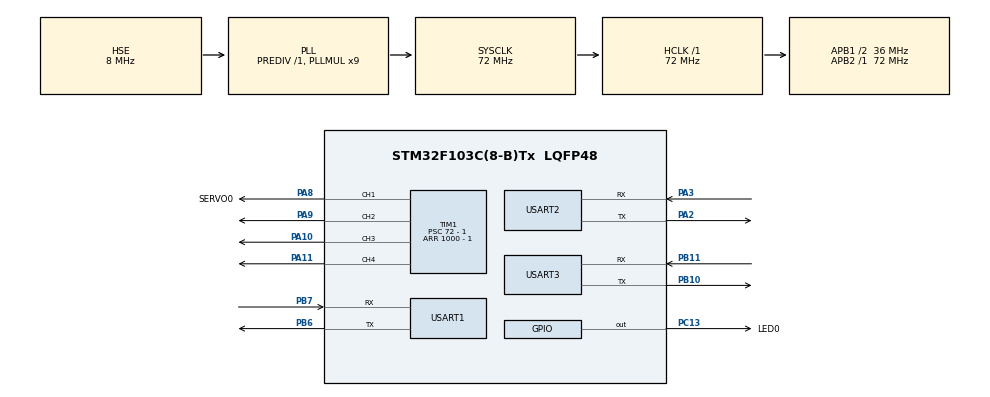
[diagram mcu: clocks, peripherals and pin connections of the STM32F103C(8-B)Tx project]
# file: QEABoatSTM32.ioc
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Mcu.Family=STM32F1
Mcu.Name=STM32F103C(8-B)Tx
Mcu.Package=LQFP48
NVIC.PriorityGroup=NVIC_PRIORITYGROUP_4
NVIC.USART1_IRQn=true\:0\:0\:false\:false\:true\:true\:true
NVIC.USART2_IRQn=true\:0\:0\:false\:false\:true\:true\:true
NVIC.USART3_IRQn=true\:0\:0\:false\:false\:true\:true\:true
PA10.Signal=S_TIM1_CH3
PA11.Signal=S_TIM1_CH4
PA13.Mode=Serial_Wire
PA13.Signal=SYS_JTMS-SWDIO
PA14.Mode=Serial_Wire
PA14.Signal=SYS_JTCK-SWCLK
PA2.Mode=Asynchronous
PA2.Signal=USART2_TX
PA3.Mode=Asynchronous
PA3.Signal=USART2_RX
PA8.GPIO_Label=SERVO0
PA8.GPIO_Speed=GPIO_SPEED_FREQ_HIGH
PA8.Signal=S_TIM1_CH1
PA9.Signal=S_TIM1_CH2
PB10.Mode=Asynchronous
PB10.Signal=USART3_TX
PB11.Mode=Asynchronous
PB11.Signal=USART3_RX
PB6.Mode=Asynchronous
PB6.Signal=USART1_TX
PB7.Mode=Asynchronous
PB7.Signal=USART1_RX
PC13-TAMPER-RTC.GPIO_Label=LED0
PC13-TAMPER-RTC.GPIO_Speed=GPIO_SPEED_FREQ_HIGH
PC13-TAMPER-RTC.Signal=GPIO_Output
PD0-OSC_IN.Mode=HSE-External-Oscillator
PD0-OSC_IN.Signal=RCC_OSC_IN
PD1-OSC_OUT.Mode=HSE-External-Oscillator
PD1-OSC_OUT.Signal=RCC_OSC_OUT
ProjectManager.HeapSize=0x200
ProjectManager.StackSize=0x400
ProjectManager.TargetToolchain=STM32CubeIDE
RCC.AHBFreq_Value=72000000
RCC.APB1CLKDivider=RCC_HCLK_DIV2
RCC.APB1Freq_Value=36000000
RCC.APB1TimFreq_Value=72000000
RCC.APB2Freq_Value=72000000
RCC.APB2TimFreq_Value=72000000
RCC.HCLKFreq_Value=72000000
RCC.PLLMUL=RCC_PLL_MUL9
RCC.PLLSourceVirtual=RCC_PLLSOURCE_HSE
RCC.SYSCLKFreq_VALUE=72000000
RCC.SYSCLKSource=RCC_SYSCLKSOURCE_PLLCLK
RCC.USBFreq_Value=72000000
SH.S_TIM1_CH1.0=TIM1_CH1,PWM Generation1 CH1
SH.S_TIM1_CH2.0=TIM1_CH2,PWM Generation2 CH2
SH.S_TIM1_CH3.0=TIM1_CH3,PWM Generation3 CH3
SH.S_TIM1_CH4.0=TIM1_CH4,PWM Generation4 CH4
TIM1.Channel-PWM\ Generation1\ CH1=TIM_CHANNEL_1
TIM1.Channel-PWM\ Generation2\ CH2=TIM_CHANNEL_2
TIM1.Channel-PWM\ Generation3\ CH3=TIM_CHANNEL_3
TIM1.Channel-PWM\ Generation4\ CH4=TIM_CHANNEL_4
TIM1.Period=1000 - 1
TIM1.Prescaler=72 - 1
USART1.VirtualMode=VM_ASYNC
USART2.VirtualMode=VM_ASYNC
USART3.VirtualMode=VM_ASYNC
VP_TIM1_VS_ClockSourceINT.Mode=Internal
board=custom

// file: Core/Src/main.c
/* USER CODE BEGIN Header */
/**
  ******************************************************************************
  * @file           : main.c
  * @brief          : Main program body
  ******************************************************************************
  * @attention
  *
  * Copyright (c) 2023 STMicroelectronics.
  * All rights reserved.
  *
  * This software is licensed under terms that can be found in the LICENSE file
  * in the root directory of this software component.
  * If no LICENSE file comes with this software, it is provided AS-IS.
  *
  ******************************************************************************
  */
#include "string.h"
/* USER CODE END Header */
#include "main.h"

TIM_HandleTypeDef htim1;

UART_HandleTypeDef huart1;
UART_HandleTypeDef huart2;
UART_HandleTypeDef huart3;

void SystemClock_Config(void);
static void MX_GPIO_Init(void);
static void MX_TIM1_Init(void);
static void MX_USART1_UART_Init(void);
static void MX_USART2_UART_Init(void);
static void MX_USART3_UART_Init(void);

/* USER CODE BEGIN 0 */

struct StatusMachine
{
    int upFlags;
    int downFlags;
    int leftFlags;
    int rightFlags;
    int channel_1_pwm;
    int channel_2_pwm;
    int channel_3_pwm;
    int channel_4_pwm;
}sm;

void UpdateStatus()
{
    if (sm.upFlags > 0) {
        sm.upFlags -= 10;
        if (sm.upFlags < 0) sm.upFlags = 0;
        sm.channel_1_pwm = 0;
        sm.channel_2_pwm += 100;
        sm.channel_3_pwm = 0;
        sm.channel_4_pwm += 100;
    }
    if (sm.downFlags > 0) {
        sm.downFlags -= 10;
        if (sm.downFlags < 0) sm.downFlags = 0;
        sm.channel_1_pwm += 100;
        sm.channel_2_pwm = 0;
        sm.channel_3_pwm += 100;
        sm.channel_4_pwm = 0;
    }
    if (sm.leftFlags > 0) {
        sm.leftFlags -= 10;
        if (sm.leftFlags < 0) sm.leftFlags = 0;
        if (sm.upFlags) {
            sm.channel_1_pwm = 0;
            sm.channel_2_pwm += 900;
            sm.channel_3_pwm += 900;
            sm.channel_4_pwm = 0;
        } else if (sm.downFlags) {
            sm.channel_1_pwm += 900;
            sm.channel_2_pwm = 0;
            sm.channel_3_pwm = 0;
            sm.channel_4_pwm += 900;
        }
    }
    if (sm.rightFlags > 0) {
        sm.rightFlags -= 10;
        if (sm.rightFlags < 0) sm.rightFlags = 0;
        if (sm.upFlags) {
            sm.channel_1_pwm += 900;
            sm.channel_2_pwm = 0;
            sm.channel_3_pwm = 0;
            sm.channel_4_pwm += 900;
        } else if (sm.downFlags) {
            sm.channel_1_pwm = 0;
            sm.channel_2_pwm += 900;
            sm.channel_3_pwm += 900;
            sm.channel_4_pwm = 0;
        }
    }

    if (sm.upFlags == 0 && sm.downFlags == 0) {
        sm.channel_1_pwm = 0;
        sm.channel_2_pwm = 0;
        sm.channel_3_pwm = 0;
        sm.channel_4_pwm = 0;
    }

    if (sm.channel_1_pwm > 1000) sm.channel_1_pwm = 1000;
    if (sm.channel_1_pwm < 0) sm.channel_1_pwm = 0;
    if (sm.channel_2_pwm > 1000) sm.channel_2_pwm = 1000;
    if (sm.channel_2_pwm < 0) sm.channel_2_pwm = 0;
    if (sm.channel_3_pwm > 1000) sm.channel_3_pwm = 1000;
    if (sm.channel_3_pwm < 0) sm.channel_3_pwm = 0;
    if (sm.channel_4_pwm > 1000) sm.channel_4_pwm = 1000;
    if (sm.channel_4_pwm < 0) sm.channel_4_pwm = 0;

    __HAL_TIM_SET_COMPARE(&htim1, TIM_CHANNEL_1, sm.channel_1_pwm);
    __HAL_TIM_SET_COMPARE(&htim1, TIM_CHANNEL_2, sm.channel_2_pwm);
    __HAL_TIM_SET_COMPARE(&htim1, TIM_CHANNEL_3, sm.channel_3_pwm);
    __HAL_TIM_SET_COMPARE(&htim1, TIM_CHANNEL_4, sm.channel_4_pwm);
}

void HandleDebugCommand(char cmd)
{
    switch (cmd) {
        case 'w':
            sm.upFlags = 100;
            sm.downFlags = 0;
            break;
        case 's':
            sm.upFlags = 0;
            sm.downFlags = 100;
            break;
        case 'a':
            sm.leftFlags = 100;
            sm.rightFlags = 0;
            break;
        case 'd':
            sm.leftFlags = 0;
            sm.rightFlags = 100;
            break;
    }
}

void HandleWiFiCommand(char cmd)
{
    switch (cmd) {
        case 'w':
            sm.upFlags = 100;
            sm.downFlags = 0;
            break;
        case 's':
            sm.upFlags = 0;
            sm.downFlags = 100;
            break;
        case 'a':
            sm.leftFlags = 100;
            sm.rightFlags = 0;
            break;
        case 'd':
            sm.leftFlags = 0;
            sm.rightFlags = 100;
            break;
    }
}

void HandlePiCommand(char cmd)
{
    switch (cmd) {
        case 'w':
            sm.upFlags = 100;
            sm.downFlags = 0;
            break;
        case 's':
            sm.upFlags = 0;
            sm.downFlags = 100;
            break;
        case 'a':
            sm.leftFlags = 100;
            sm.rightFlags = 0;
            break;
        case 'd':
            sm.leftFlags = 0;
            sm.rightFlags = 100;
            break;
    }
}

void HAL_UART_RxCpltCallback(UART_HandleTypeDef* huart)
{
    static char debugRecvBuff[1] = {0};
    static char wifiRecvBuff[1] = {0};
    static char piRecvBuff[1] = {0};

    if (huart->Instance == USART1) { //串口调试
        HAL_UART_Transmit_IT(&huart1, debugRecvBuff, 1);
        HandleDebugCommand(debugRecvBuff[0]);
        HAL_UART_Receive_IT(huart, debugRecvBuff, 1);
    } else if (huart->Instance == USART2) { //ESP8266 WiFi模块
        HAL_UART_Transmit_IT(&huart1, wifiRecvBuff, 1);
        HandleWiFiCommand(wifiRecvBuff[0]);
        HAL_UART_Receive_IT(huart, wifiRecvBuff, 1);
    } else if (huart->Instance == USART3) { //树莓派4B
        HAL_UART_Transmit_IT(&huart1, piRecvBuff, 1);
        HandlePiCommand(piRecvBuff[0]);
        HAL_UART_Receive_IT(huart, piRecvBuff, 1);
    }
}

void EnableDebugUart()
{
    HAL_UART_RxCpltCallback(&huart1);
}

void EnableWiFiUart()
{
    HAL_UART_RxCpltCallback(&huart2);
}

void EnablePiUart()
{
    HAL_UART_RxCpltCallback(&huart3);
}

void EnableESP8266Server()
{
    HAL_Delay(1000); //等待ESP8266启动完成
    char cmd1[] = "AT+CIPMUX=1\r\n";
    HAL_UART_Transmit_IT(&huart2, cmd1, strlen(cmd1));
    HAL_Delay(100);
    char cmd2[] = "AT+CIPSERVER=1,8896\r\n";
    HAL_UART_Transmit_IT(&huart2, cmd2, strlen(cmd2));
    HAL_Delay(100);
}

void EnablePWMOutput()
{
    HAL_TIM_PWM_Start(&htim1, TIM_CHANNEL_1);
    HAL_TIM_PWM_Start(&htim1, TIM_CHANNEL_2);
    HAL_TIM_PWM_Start(&htim1, TIM_CHANNEL_3);
    HAL_TIM_PWM_Start(&htim1, TIM_CHANNEL_4);

    __HAL_TIM_SET_COMPARE(&htim1, TIM_CHANNEL_1, 0);
    __HAL_TIM_SET_COMPARE(&htim1, TIM_CHANNEL_2, 0);
    __HAL_TIM_SET_COMPARE(&htim1, TIM_CHANNEL_3, 0);
    __HAL_TIM_SET_COMPARE(&htim1, TIM_CHANNEL_4, 0);
}

void LaunchSuccess()
{
    for (int i = 0; i < 10; ++i) {
        __HAL_TIM_SET_COMPARE(&htim1, TIM_CHANNEL_1, 100);
        __HAL_TIM_SET_COMPARE(&htim1, TIM_CHANNEL_2, 0);
        __HAL_TIM_SET_COMPARE(&htim1, TIM_CHANNEL_3, 100);
        __HAL_TIM_SET_COMPARE(&htim1, TIM_CHANNEL_4, 0);
        HAL_Delay(100);
        __HAL_TIM_SET_COMPARE(&htim1, TIM_CHANNEL_1, 0);
        __HAL_TIM_SET_COMPARE(&htim1, TIM_CHANNEL_2, 0);
        __HAL_TIM_SET_COMPARE(&htim1, TIM_CHANNEL_3, 0);
        __HAL_TIM_SET_COMPARE(&htim1, TIM_CHANNEL_4, 0);
        HAL_Delay(100);
    }
}

/* USER CODE END 0 */

int main(void)
{

  /* MCU Configuration--------------------------------------------------------*/

  /* Reset of all peripherals, Initializes the Flash interface and the Systick. */
  HAL_Init();

  /* Configure the system clock */
  SystemClock_Config();

  /* Initialize all configured peripherals */
  MX_GPIO_Init();
  MX_TIM1_Init();
  MX_USART1_UART_Init();
  MX_USART2_UART_Init();
  MX_USART3_UART_Init();
  /* USER CODE BEGIN 2 */

    EnablePWMOutput();
    EnableDebugUart();
    EnableWiFiUart();
    EnablePiUart();
    EnableESP8266Server();

    char data[] = "Hello World!\r\n";
    HAL_UART_Transmit_IT(&huart1, data, strlen(data));
    HAL_UART_Transmit_IT(&huart3, data, strlen(data));
    HAL_Delay(100);

    LaunchSuccess();

  /* USER CODE END 2 */

  /* Infinite loop */
  /* USER CODE BEGIN WHILE */
  while (1)
  {

      HAL_Delay(20);
      HAL_GPIO_TogglePin(GPIOC, GPIO_PIN_13);
      UpdateStatus();
    /* USER CODE END WHILE */

  }
}

void SystemClock_Config(void)
{
  RCC_OscInitTypeDef RCC_OscInitStruct = {0};
  RCC_ClkInitTypeDef RCC_ClkInitStruct = {0};

  /** Initializes the RCC Oscillators according to the specified parameters
  * in the RCC_OscInitTypeDef structure.
  */
  RCC_OscInitStruct.OscillatorType = RCC_OSCILLATORTYPE_HSE;
  RCC_OscInitStruct.HSEState = RCC_HSE_ON;
  RCC_OscInitStruct.HSEPredivValue = RCC_HSE_PREDIV_DIV1;
  RCC_OscInitStruct.HSIState = RCC_HSI_ON;
  RCC_OscInitStruct.PLL.PLLState = RCC_PLL_ON;
  RCC_OscInitStruct.PLL.PLLSource = RCC_PLLSOURCE_HSE;
  RCC_OscInitStruct.PLL.PLLMUL = RCC_PLL_MUL9;
  if (HAL_RCC_OscConfig(&RCC_OscInitStruct) != HAL_OK)
  {
    Error_Handler();
  }
  /** Initializes the CPU, AHB and APB buses clocks
  */
  RCC_ClkInitStruct.ClockType = RCC_CLOCKTYPE_HCLK|RCC_CLOCKTYPE_SYSCLK
                              |RCC_CLOCKTYPE_PCLK1|RCC_CLOCKTYPE_PCLK2;
  RCC_ClkInitStruct.SYSCLKSource = RCC_SYSCLKSOURCE_PLLCLK;
  RCC_ClkInitStruct.AHBCLKDivider = RCC_SYSCLK_DIV1;
  RCC_ClkInitStruct.APB1CLKDivider = RCC_HCLK_DIV2;
  RCC_ClkInitStruct.APB2CLKDivider = RCC_HCLK_DIV1;

  if (HAL_RCC_ClockConfig(&RCC_ClkInitStruct, FLASH_LATENCY_2) != HAL_OK)
  {
    Error_Handler();
  }
}

static void MX_TIM1_Init(void)
{

  TIM_ClockConfigTypeDef sClockSourceConfig = {0};
  TIM_MasterConfigTypeDef sMasterConfig = {0};
  TIM_OC_InitTypeDef sConfigOC = {0};
  TIM_BreakDeadTimeConfigTypeDef sBreakDeadTimeConfig = {0};

  htim1.Instance = TIM1;
  htim1.Init.Prescaler = 72 - 1;
  htim1.Init.CounterMode = TIM_COUNTERMODE_UP;
  htim1.Init.Period = 1000 - 1;
  htim1.Init.ClockDivision = TIM_CLOCKDIVISION_DIV1;
  htim1.Init.RepetitionCounter = 0;
  htim1.Init.AutoReloadPreload = TIM_AUTORELOAD_PRELOAD_DISABLE;
  if (HAL_TIM_Base_Init(&htim1) != HAL_OK)
  {
    Error_Handler();
  }
  sClockSourceConfig.ClockSource = TIM_CLOCKSOURCE_INTERNAL;
  if (HAL_TIM_ConfigClockSource(&htim1, &sClockSourceConfig) != HAL_OK)
  {
    Error_Handler();
  }
  if (HAL_TIM_PWM_Init(&htim1) != HAL_OK)
  {
    Error_Handler();
  }
  sMasterConfig.MasterOutputTrigger = TIM_TRGO_RESET;
  sMasterConfig.MasterSlaveMode = TIM_MASTERSLAVEMODE_DISABLE;
  if (HAL_TIMEx_MasterConfigSynchronization(&htim1, &sMasterConfig) != HAL_OK)
  {
    Error_Handler();
  }
  sConfigOC.OCMode = TIM_OCMODE_PWM1;
  sConfigOC.Pulse = 0;
  sConfigOC.OCPolarity = TIM_OCPOLARITY_HIGH;
  sConfigOC.OCNPolarity = TIM_OCNPOLARITY_HIGH;
  sConfigOC.OCFastMode = TIM_OCFAST_DISABLE;
  sConfigOC.OCIdleState = TIM_OCIDLESTATE_RESET;
  sConfigOC.OCNIdleState = TIM_OCNIDLESTATE_RESET;
  if (HAL_TIM_PWM_ConfigChannel(&htim1, &sConfigOC, TIM_CHANNEL_1) != HAL_OK)
  {
    Error_Handler();
  }
  if (HAL_TIM_PWM_ConfigChannel(&htim1, &sConfigOC, TIM_CHANNEL_2) != HAL_OK)
  {
    Error_Handler();
  }
  if (HAL_TIM_PWM_ConfigChannel(&htim1, &sConfigOC, TIM_CHANNEL_3) != HAL_OK)
  {
    Error_Handler();
  }
  if (HAL_TIM_PWM_ConfigChannel(&htim1, &sConfigOC, TIM_CHANNEL_4) != HAL_OK)
  {
    Error_Handler();
  }
  sBreakDeadTimeConfig.OffStateRunMode = TIM_OSSR_DISABLE;
  sBreakDeadTimeConfig.OffStateIDLEMode = TIM_OSSI_DISABLE;
  sBreakDeadTimeConfig.LockLevel = TIM_LOCKLEVEL_OFF;
  sBreakDeadTimeConfig.DeadTime = 0;
  sBreakDeadTimeConfig.BreakState = TIM_BREAK_DISABLE;
  sBreakDeadTimeConfig.BreakPolarity = TIM_BREAKPOLARITY_HIGH;
  sBreakDeadTimeConfig.AutomaticOutput = TIM_AUTOMATICOUTPUT_DISABLE;
  if (HAL_TIMEx_ConfigBreakDeadTime(&htim1, &sBreakDeadTimeConfig) != HAL_OK)
  {
    Error_Handler();
  }
  HAL_TIM_MspPostInit(&htim1);

}

static void MX_USART1_UART_Init(void)
{

  huart1.Instance = USART1;
  huart1.Init.BaudRate = 115200;
  huart1.Init.WordLength = UART_WORDLENGTH_8B;
  huart1.Init.StopBits = UART_STOPBITS_1;
  huart1.Init.Parity = UART_PARITY_NONE;
  huart1.Init.Mode = UART_MODE_TX_RX;
  huart1.Init.HwFlowCtl = UART_HWCONTROL_NONE;
  huart1.Init.OverSampling = UART_OVERSAMPLING_16;
  if (HAL_UART_Init(&huart1) != HAL_OK)
  {
    Error_Handler();
  }

}

static void MX_USART2_UART_Init(void)
{

  huart2.Instance = USART2;
  huart2.Init.BaudRate = 115200;
  huart2.Init.WordLength = UART_WORDLENGTH_8B;
  huart2.Init.StopBits = UART_STOPBITS_1;
  huart2.Init.Parity = UART_PARITY_NONE;
  huart2.Init.Mode = UART_MODE_TX_RX;
  huart2.Init.HwFlowCtl = UART_HWCONTROL_NONE;
  huart2.Init.OverSampling = UART_OVERSAMPLING_16;
  if (HAL_UART_Init(&huart2) != HAL_OK)
  {
    Error_Handler();
  }

}

static void MX_USART3_UART_Init(void)
{

  huart3.Instance = USART3;
  huart3.Init.BaudRate = 115200;
  huart3.Init.WordLength = UART_WORDLENGTH_8B;
  huart3.Init.StopBits = UART_STOPBITS_1;
  huart3.Init.Parity = UART_PARITY_NONE;
  huart3.Init.Mode = UART_MODE_TX_RX;
  huart3.Init.HwFlowCtl = UART_HWCONTROL_NONE;
  huart3.Init.OverSampling = UART_OVERSAMPLING_16;
  if (HAL_UART_Init(&huart3) != HAL_OK)
  {
    Error_Handler();
  }

}

static void MX_GPIO_Init(void)
{
  GPIO_InitTypeDef GPIO_InitStruct = {0};

  /* GPIO Ports Clock Enable */
  __HAL_RCC_GPIOC_CLK_ENABLE();
  __HAL_RCC_GPIOD_CLK_ENABLE();
  __HAL_RCC_GPIOA_CLK_ENABLE();
  __HAL_RCC_GPIOB_CLK_ENABLE();

  /*Configure GPIO pin Output Level */
  HAL_GPIO_WritePin(LED0_GPIO_Port, LED0_Pin, GPIO_PIN_RESET);

  /*Configure GPIO pin : LED0_Pin */
  GPIO_InitStruct.Pin = LED0_Pin;
  GPIO_InitStruct.Mode = GPIO_MODE_OUTPUT_PP;
  GPIO_InitStruct.Pull = GPIO_NOPULL;
  GPIO_InitStruct.Speed = GPIO_SPEED_FREQ_HIGH;
  HAL_GPIO_Init(LED0_GPIO_Port, &GPIO_InitStruct);

}

void Error_Handler(void)
{
  __disable_irq();
  while (1)
  {
  }
}
